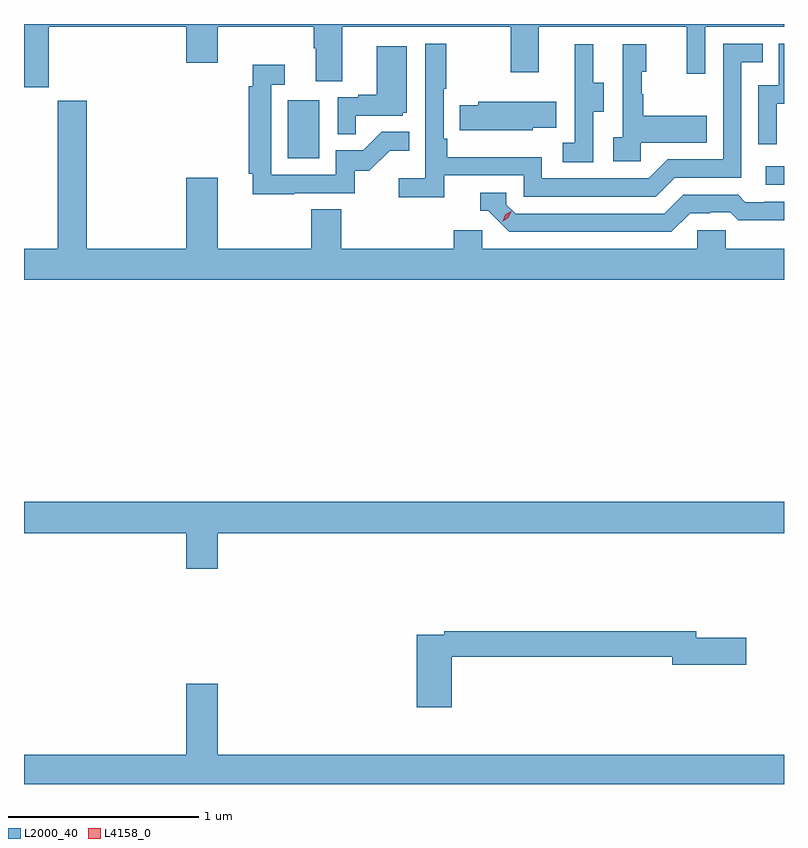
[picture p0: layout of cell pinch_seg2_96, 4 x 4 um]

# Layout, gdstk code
import gdstk
lib = gdstk.Library(unit=1e-6, precision=1e-09)
def R(c, l, rs):  # rectangles x0, y0, x1, y1
    for r in rs: c.add(gdstk.rectangle(r[:2], r[2:], *l))
def P(c, l, *ps):  # polygons
    for p in ps: c.add(gdstk.Polygon(p, *l))
L2000_40 = (2000, 40)
L4158_0 = (4158, 0)

pinch_seg2_96 = lib.new_cell('pinch_seg2_96')
R(pinch_seg2_96, L2000_40, [(1031.193,645.474,1031.289,645.57), (1028.678,645.612,1028.842,645.919)])
P(pinch_seg2_96, L2000_40, [(1027.42,646.304),(1028.144,646.304),(1028.144,646.116),(1028.308,646.116),(1028.308,646.304),(1028.813,646.304),(1028.813,646.192),(1028.825,646.192),(1028.825,646.018),(1028.965,646.018),(1028.965,646.304),(1029.85,646.304),(1029.85,646.065),(1029.997,646.065),(1029.997,646.304),(1030.778,646.304),(1030.778,646.056),(1030.875,646.056),(1030.875,646.304),(1031.289,646.304),(1031.289,646.319),(1027.289,646.319),(1027.289,645.987),(1027.42,645.987)],
  [(1029.5,645.522),(1029.918,645.522),(1029.918,645.411),(1030.615,645.411),(1030.714,645.51),(1031.064,645.51),(1031.064,646.119),(1031.177,646.119),(1031.177,646.215),(1030.968,646.215),(1030.968,645.606),(1030.677,645.606),(1030.578,645.507),(1030.014,645.507),(1030.014,645.619),(1029.517,645.619),(1029.517,645.715),(1029.498,645.715),(1029.498,645.979),(1029.511,645.979),(1029.511,646.216),(1029.402,646.216),(1029.402,645.508),(1029.261,645.508),(1029.261,645.406),(1029.5,645.406)],
  [(1031.25,645.899),(1031.289,645.899),(1031.289,646.215),(1031.262,646.215),(1031.262,645.996),(1031.154,645.996),(1031.154,645.687),(1031.25,645.687)],
  [(1030.284,645.856),(1030.339,645.856),(1030.339,646.011),(1030.285,646.011),(1030.285,646.213),(1030.187,646.213),(1030.187,645.999),(1030.188,645.999),(1030.188,645.695),(1030.125,645.695),(1030.125,645.592),(1030.284,645.592)],
  [(1030.536,645.695),(1030.883,645.695),(1030.883,645.835),(1030.549,645.835),(1030.549,645.95),(1030.539,645.95),(1030.539,646.068),(1030.564,646.068),(1030.564,646.213),(1030.44,646.213),(1030.44,645.722),(1030.389,645.722),(1030.389,645.597),(1030.536,645.597)],
  [(1029.035,645.837),(1029.282,645.837),(1029.282,645.852),(1029.304,645.852),(1029.304,646.201),(1029.146,646.201),(1029.146,645.946),(1029.047,645.946),(1029.047,645.933),(1028.94,645.933),(1028.94,645.739),(1029.035,645.739)],
  [(1028.711,645.429),(1029.03,645.429),(1029.03,645.546),(1029.106,645.546),(1029.213,645.653),(1029.317,645.653),(1029.317,645.752),(1029.173,645.752),(1029.075,645.654),(1028.931,645.654),(1028.931,645.525),(1028.589,645.525),(1028.589,645.999),(1028.662,645.999),(1028.662,646.105),(1028.492,646.105),(1028.492,645.992),(1028.473,645.992),(1028.473,645.532),(1028.492,645.532),(1028.492,645.424),(1028.711,645.424)],
  [(1031.289,645.136),(1030.983,645.136),(1030.983,645.234),(1030.833,645.234),(1030.833,645.136),(1029.702,645.136),(1029.702,645.234),(1029.551,645.234),(1029.551,645.136),(1028.96,645.136),(1028.96,645.344),(1028.8,645.344),(1028.8,645.136),(1028.308,645.136),(1028.308,645.511),(1028.144,645.511),(1028.144,645.136),(1027.619,645.136),(1027.619,645.915),(1027.466,645.915),(1027.466,645.136),(1027.289,645.136),(1027.289,644.972),(1031.289,644.972)],
  [(1029.966,645.773),(1030.091,645.773),(1030.091,645.91),(1029.681,645.91),(1029.681,645.891),(1029.583,645.891),(1029.583,645.761),(1029.966,645.761)],
  [(1030.795,645.324),(1030.902,645.324),(1030.902,645.327),(1031.005,645.327),(1031.047,645.285),(1031.28,645.285),(1031.28,645.287),(1031.289,645.287),(1031.289,645.384),(1031.185,645.384),(1031.185,645.381),(1031.086,645.381),(1031.047,645.42),(1030.758,645.42),(1030.659,645.321),(1029.876,645.321),(1029.828,645.369),(1029.828,645.432),(1029.689,645.432),(1029.689,645.336),(1029.732,645.336),(1029.843,645.225),(1030.696,645.225)],
  [(1028.308,643.64),(1031.289,643.64),(1031.289,643.804),(1027.289,643.804),(1027.289,643.64),(1028.144,643.64),(1028.144,643.452),(1028.308,643.452)],
  [(1029.539,642.988),(1030.7,642.988),(1030.7,642.946),(1031.089,642.946),(1031.089,643.088),(1030.828,643.088),(1030.828,643.124),(1029.502,643.124),(1029.502,643.104),(1029.356,643.104),(1029.356,642.723),(1029.539,642.723)],
  [(1031.289,642.472),(1028.308,642.472),(1028.308,642.847),(1028.144,642.847),(1028.144,642.472),(1027.289,642.472),(1027.289,642.319),(1031.289,642.319)])
P(pinch_seg2_96, L4158_0, [(1029.808,645.28),(1029.808,645.281),(1029.823,645.314),(1029.853,645.334),(1029.853,645.334),(1029.853,645.333),(1029.838,645.3),(1029.808,645.28)])

lib.write_gds('pinch_seg2_96.gds')
